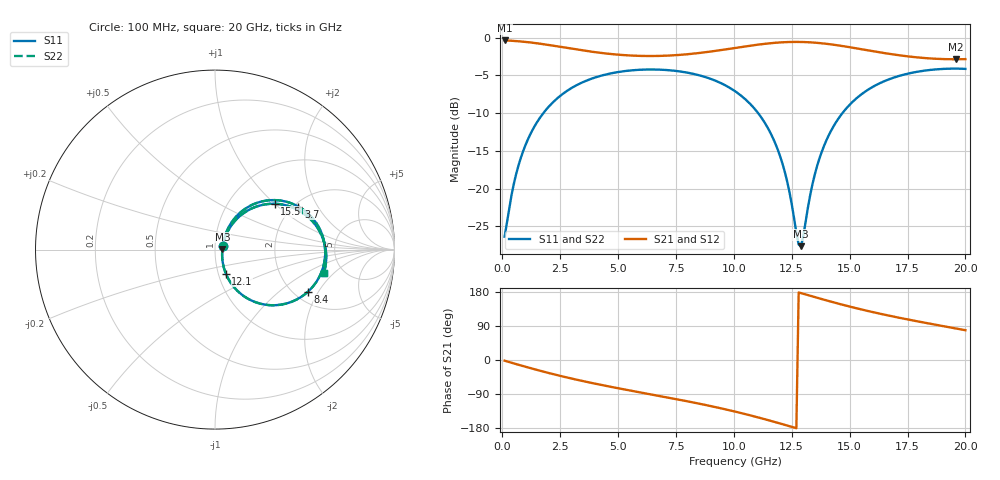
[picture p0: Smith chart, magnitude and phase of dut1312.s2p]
! Touchstone file exported from HFSS 2026.1.0
!  File:  C:/ffzhzh/LocalFiles/Ansys_Project_Files/temp_train_TSV_RDL_1312_1783335592_39728.aedt
!  Generated:  07:13:33 PM Jul  6, 2026
!  Design:  TSV_RDL
!  Project:  temp_train_TSV_RDL_1312_1783335592_39728
! Variables:
!  h_bsmrdl = 2.71um
!  h_ox = 20um
!  h_rdl = 5um
!  h_sub = 99.98um
!  h_tmrdl = 4.02um
!  h_tsv = 99.98um
!  h_via = 3um
!  l_bsmrdl = 966.27um
!  l_sub = 4582.75um
!  l_tmrdl = 297.03um
!  m_sub = 200um
!  pitch = 38.91um
!  r_tsv = 3.29um
!  s_tmrdl = 10um
!  w_bsmrdl = 11.36um
!  w_sub = 500um
!  w_tmrdl = 20.58um
!  x_tsv_center1 = 307.32um
!  x_tsv_center2 = 1284.95um
!  x_tsv_center3 = 1602.56um
!  x_tsv_center4 = 2580.19um
!  x_tsv_center5 = 2897.8um
!  x_tsv_center6 = 3875.43um
# GHz S MA R 50.000000
! Terminal data exported
! Port[1] = TM_RDL1_1_T1
! Port[2] = TM_RDL5_1_T1
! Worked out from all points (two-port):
!   200 points, 100 MHz to 20 GHz, reference 50 ohm
!   highest |S21| = -0.39 dB at 100 MHz (marker M1); lowest = -2.9 dB at 19.6 GHz (marker M2)
!   |S21| within 3 dB of the highest: start of sweep to end of sweep
!   lowest |S11| = -27.6 dB at 12.9 GHz (marker M3), VSWR 1.09, Z = 54.3 + j0.336 ohm
!   |S11| at or under -10 dB: start of sweep to 1.776 GHz; 11.05 GHz to 14.69 GHz (3.645 GHz wide, 28.3 % of centre)
!   |S22| runs from -27.7 to -4.1 dB; largest |S21 - S12| = 2.2e-14
!   S11 on the Smith chart (normalised r, x): 100 MHz: 1.09, +0.04; 3.7 GHz: 2.11, +1.39; 8.4 GHz: 2.34, -1.63; 12.1 GHz: 1.09, -0.30; 15.5 GHz: 1.62, +1.00; 20 GHz: 3.57, -1.52
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0.1  0.04808 23.0  0.9562 -1.9  0.9562 -1.9  0.04808 23.0
! Gamma 0 0 0 0
! Port Impedance 50 0 50 0
0.6  0.1252 57.6  0.9472 -10.8  0.9472 -10.8  0.1252 57.6
1.2  0.2273 56.9  0.928 -21.2  0.928 -21.2  0.2273 56.9
2.2  0.3743 45.8  0.8829 -37.3  0.8829 -37.3  0.3743 45.8
3.5  0.5081 29.6  0.8205 -55.9  0.8205 -55.9  0.5081 29.6
3.7  0.5231 27.2  0.812 -58.5  0.812 -58.5  0.5231 27.2
5.3  0.5999 9.1  0.7639 -78.0  0.7639 -78.0  0.5999 9.1
6.8  0.6129 -6.9  0.7557 -95.1  0.7557 -95.1  0.6129 -6.9
8.4  0.5677 -24.5  0.7865 -113.9  0.7865 -113.9  0.5677 -24.5
10.1  0.4362 -45.2  0.8552 -136.8  0.8552 -136.8  0.4362 -45.2
11.3  0.2783 -60.2  0.9072 -155.6  0.9072 -155.6  0.2783 -60.3
12.1  0.1464 -65.6  0.9298 -169.3  0.9298 -169.3  0.1463 -65.8
12.4  0.09526 -61.5  0.9339 -174.6  0.9339 -174.6  0.09515 -61.7
12.8  0.04262 -19.6  0.935 178.3  0.935 178.3  0.04232 -19.8
12.9  0.04163 4.3  0.9345 176.5  0.9345 176.5  0.04132 4.3
13.4  0.1078 53.5  0.927 167.6  0.927 167.6  0.1077 53.7
14.2  0.2418 52.9  0.9007 153.9  0.9007 153.9  0.2417 52.9
15.5  0.4199 37.4  0.8374 133.5  0.8374 133.5  0.4198 37.5
16.7  0.529 22.9  0.7803 117.0  0.7803 117.0  0.529 23.0
18.1  0.5997 7.4  0.7344 100.0  0.7344 100.0  0.5997 7.5
19.6  0.6225 -8.1  0.7179 83.1  0.7179 83.1  0.6224 -8.1
20  0.6202 -12.2  0.7195 78.6  0.7195 78.6  0.6201 -12.2
